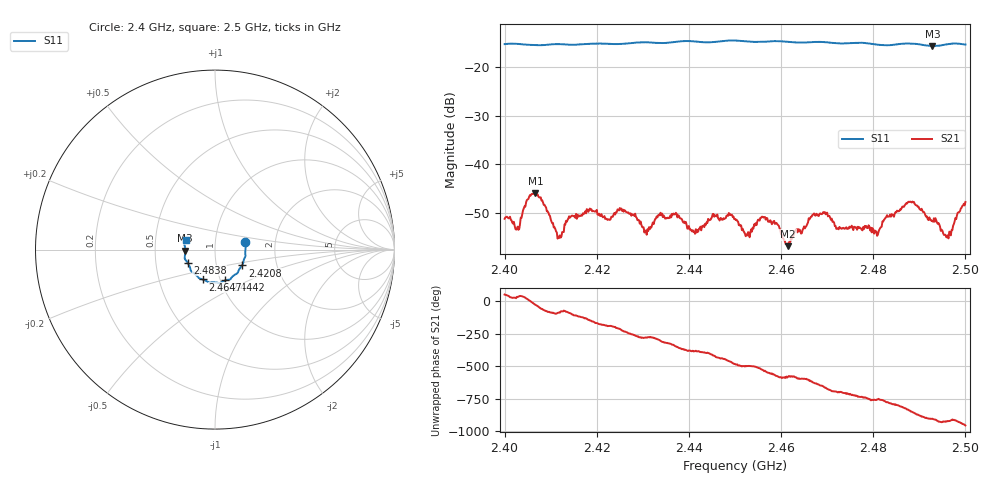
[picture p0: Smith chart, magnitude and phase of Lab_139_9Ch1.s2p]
# Hz S RI R 50
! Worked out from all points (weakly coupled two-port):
!   601 points, 2.4 GHz to 2.5 GHz, reference 50 ohm
!   highest |S21| = -45.94 dB at 2.4067 GHz (marker M1); lowest = -56.9 dB at 2.4615 GHz (marker M2)
!   lowest |S11| = -15.6 dB at 2.4928 GHz (marker M3), VSWR 1.40, Z = 35.8 - j0.384 ohm
!   |S11| at or under -10 dB: start of sweep to end of sweep
!   S12 and S22 are empty: the file has one direction only
!   S11 on the Smith chart (normalised r, x): 2.4 GHz: 1.40, +0.12; 2.4208 GHz: 1.33, -0.24; 2.4442 GHz: 1.05, -0.37; 2.4647 GHz: 0.83, -0.29; 2.4838 GHz: 0.73, -0.11; 2.5 GHz: 0.72, +0.08
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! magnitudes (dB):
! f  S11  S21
! 2.4 GHz  -15.2  -51.3
! 2.4028 GHz  -15.2  -52.9
! 2.4067 GHz  -15.4  -45.9
! 2.4118 GHz  -15.2  -55.2
! 2.4167 GHz  -15.3  -50.6
! 2.4208 GHz  -15.1  -50.7
! 2.4307 GHz  -14.8  -53.7
! 2.4333 GHz  -15.0  -50.5
! 2.4442 GHz  -14.9  -51.3
! 2.45 GHz  -14.5  -51.3
! 2.4527 GHz  -14.7  -54.7
! 2.4565 GHz  -14.7  -50.9
! 2.4615 GHz  -14.8  -56.9
! 2.4647 GHz  -14.9  -53.6
! 2.4667 GHz  -14.8  -50.8
! 2.4807 GHz  -15.3  -53.9
! 2.4833 GHz  -15.5  -50.8
! 2.4838 GHz  -15.4  -50.8
! 2.4883 GHz  -15.1  -47.9
! 2.4928 GHz  -15.6  -51.7
! 2.4963 GHz  -15.2  -55.3
! 2.5 GHz  -15.3  -47.8
